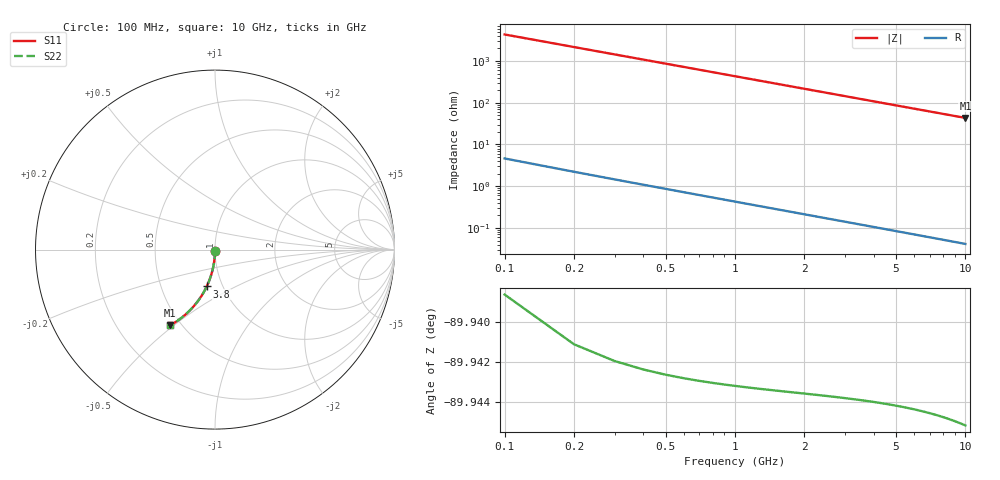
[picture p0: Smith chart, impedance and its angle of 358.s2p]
# Hz S RI R 50.00
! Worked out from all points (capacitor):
!   100 points, 100 MHz to 10 GHz, reference 50 ohm
!   read as one part in shunt: C = 368 fF near 100 MHz
!   lowest |Z| = 43.3 ohm at 10 GHz (marker M1)
!   S11 on the Smith chart (normalised r, x): 100 MHz: 1.00, -0.01; 3.8 GHz: 0.84, -0.36; 10 GHz: 0.43, -0.48
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1e8  1.71e-05 -0.00568  0.9999 -0.0059  0.9999 -0.0059  1.71e-05 -0.00568
2e8  -8.87e-05 -0.0113  0.9998 -0.0118  0.9998 -0.0118  -8.87e-05 -0.0113
3e8  -0.000261 -0.017  0.9996 -0.0177  0.9996 -0.0177  -0.000261 -0.017
4e8  -0.000501 -0.0227  0.9994 -0.0236  0.9994 -0.0236  -0.000501 -0.0227
5e8  -0.000807 -0.0284  0.9991 -0.0295  0.9991 -0.0295  -0.000807 -0.0284
6e8  -0.00118 -0.034  0.9987 -0.0354  0.9987 -0.0354  -0.00118 -0.034
7e8  -0.00162 -0.0397  0.9983 -0.0412  0.9983 -0.0412  -0.00162 -0.0397
8e8  -0.00213 -0.0453  0.9978 -0.0471  0.9978 -0.0471  -0.00213 -0.0453
9e8  -0.0027 -0.0509  0.9972 -0.053  0.9972 -0.053  -0.0027 -0.0509
1.1e9  -0.00404 -0.0622  0.9958 -0.0646  0.9958 -0.0646  -0.00404 -0.0622
1.4e9  -0.00654 -0.0789  0.9933 -0.0821  0.9933 -0.0821  -0.00654 -0.0789
1.8e9  -0.0108 -0.101  0.9891 -0.1051  0.9891 -0.1051  -0.0108 -0.101
2.1e9  -0.0146 -0.1174  0.9853 -0.1221  0.9853 -0.1221  -0.0146 -0.1174
2.5e9  -0.0206 -0.1389  0.9793 -0.1445  0.9793 -0.1445  -0.0206 -0.1389
2.9e9  -0.0275 -0.16  0.9724 -0.1665  0.9724 -0.1665  -0.0275 -0.16
3.4e9  -0.0374 -0.1857  0.9624 -0.1933  0.9624 -0.1933  -0.0374 -0.1857
3.8e9  -0.0463 -0.2056  0.9535 -0.2141  0.9535 -0.2141  -0.0463 -0.2056
4.4e9  -0.0611 -0.2343  0.9387 -0.2441  0.9387 -0.2441  -0.0611 -0.2343
5.1e9  -0.0804 -0.2659  0.9194 -0.2773  0.9194 -0.2773  -0.0804 -0.2659
6.7e9  -0.1312 -0.3297  0.8685 -0.3448  0.8685 -0.3448  -0.1312 -0.3297
8.4e9  -0.192 -0.384  0.8077 -0.403  0.8077 -0.403  -0.192 -0.384
1e10  -0.2522 -0.4226  0.7474 -0.4452  0.7474 -0.4452  -0.2522 -0.4226
